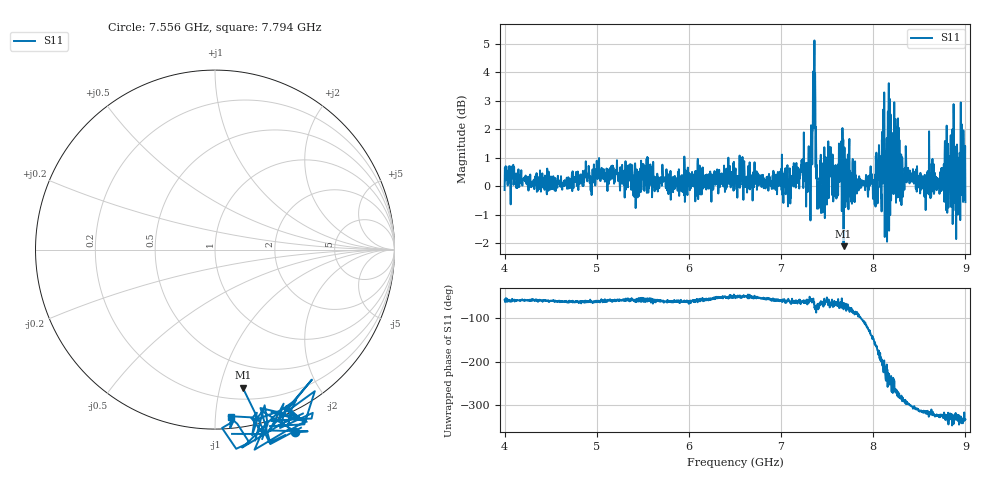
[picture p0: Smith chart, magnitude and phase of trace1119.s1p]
! Created with skrf 1.8.0 (http://scikit-rf.org).
# Hz S RI R 50.0
!freq ReS11 ImS11
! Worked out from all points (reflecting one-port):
!   1601 points, 4 GHz to 9 GHz, reference 50 ohm
!   lowest |S11| = -2.1 dB at 7.678 GHz (marker M1), VSWR 8.26, Z = 14.8 - j58.8 ohm
!   phase of S11 starts at -57 deg and turns -278 deg over the sweep
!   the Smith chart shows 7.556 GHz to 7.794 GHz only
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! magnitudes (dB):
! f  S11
! 4 GHz  -0.1
! 4.625 GHz  -0.1
! 5.25 GHz  0.0
! 5.875 GHz  0.0
! 6.5 GHz  0.1
! 7.125 GHz  0.3
! 7.238 GHz  0.5
! 7.297 GHz  0.8
! 7.35 GHz  2.6
! 7.369 GHz  4.0
! 7.397 GHz  -0.2
! 7.416 GHz  0.3
! 7.538 GHz  1.4
! 7.591 GHz  0.7
! 7.65 GHz  1.3
! 7.678 GHz  -2.1
! 7.75 GHz  -0.4
! 8 GHz  0.2
! 8.184 GHz  -1.0
! 8.197 GHz  0.5
! 8.253 GHz  1.0
! 8.312 GHz  1.0
! 8.375 GHz  0.3
! 8.556 GHz  -0.4
! 8.85 GHz  0.1
! 8.919 GHz  0.0
! 8.972 GHz  0.7
! 9 GHz  -0.6
